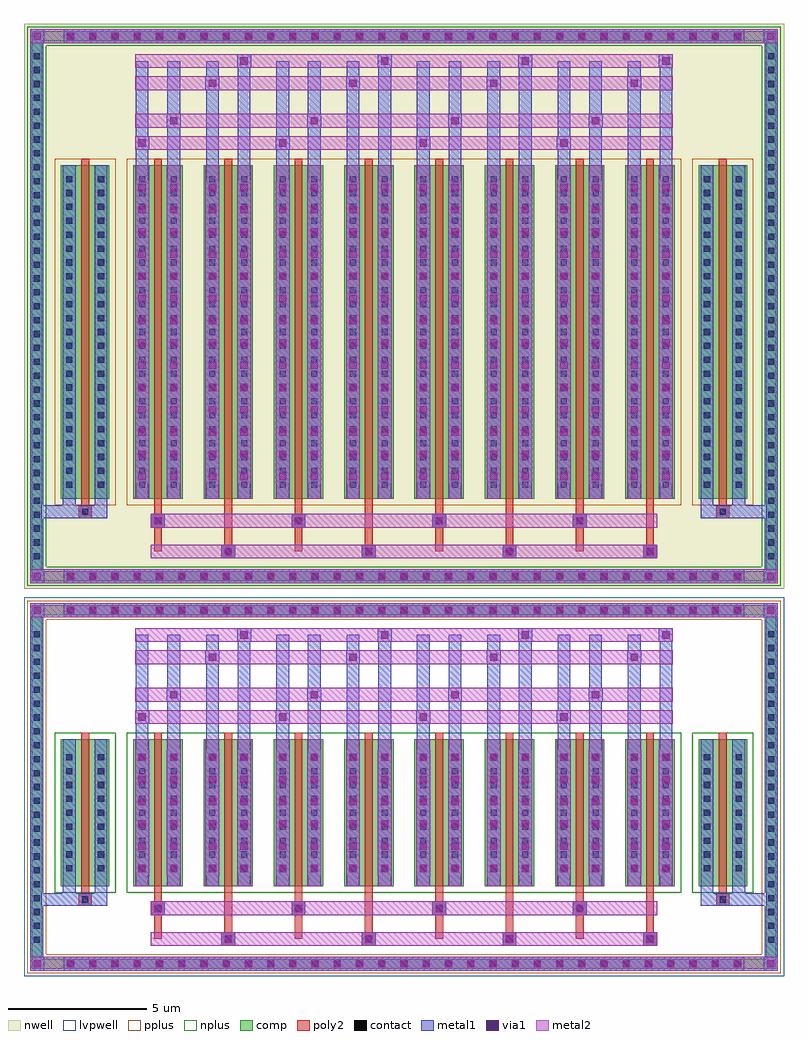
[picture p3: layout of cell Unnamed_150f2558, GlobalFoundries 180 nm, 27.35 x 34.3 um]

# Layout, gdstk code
import gdstk
lib = gdstk.Library(unit=1e-6, precision=5e-09)
def R(c, l, rs):  # rectangles x0, y0, x1, y1
    for r in rs: c.add(gdstk.rectangle(r[:2], r[2:], *l))
def A(c, l, x, y, w, h, nx, ny, dx, dy):  # array of equal rectangles
    R(c, l, [(x+i*dx, y+j*dy, x+i*dx+w, y+j*dy+h) for i in range(nx) for j in range(ny)])
def P(c, l, *ps):  # polygons
    for p in ps: c.add(gdstk.Polygon(p, *l))
nwell = (21, 0)
comp = (22, 0)
poly2 = (30, 0)
pplus = (31, 0)
nplus = (32, 0)
contact = (33, 0)
metal1 = (34, 0)
via1 = (35, 0)
metal2 = (36, 0)
lvpwell = (204, 0)

unnamed_360b35ee_1 = lib.new_cell('Unnamed_360b35ee$1')
A(unnamed_360b35ee_1, comp, -12.18, -9.895, 0.36, 0.36, 31, 2, 0.8, 19.43)
A(unnamed_360b35ee_1, comp, -13.395, -9.18, 0.36, 0.36, 1, 37, 0, 0.5)
A(unnamed_360b35ee_1, comp, 13.035, -9.18, 0.36, 0.36, 1, 37, 0, 0.5)
R(unnamed_360b35ee_1, comp, [(-12.18,-9.895,12.18,-9.535), (-13.395,-9.18,-13.035,9.18), (13.035,-9.18,13.395,9.18), (-12.18,9.535,12.18,9.895)])
P(unnamed_360b35ee_1, comp, [(-13.395,-9.895),(-13.395,-9.535),(-13.035,-9.535),(13.035,-9.535),(13.035,9.535),(-13.035,9.535),(-13.035,-9.535),(-13.395,-9.535),(-13.395,9.895),(13.395,9.895),(13.395,-9.895)])
P(unnamed_360b35ee_1, nplus, [(-13.555,-10.055),(-13.555,-9.375),(-12.875,-9.375),(12.875,-9.375),(12.875,9.375),(-12.875,9.375),(-12.875,-9.375),(-13.555,-9.375),(-13.555,10.055),(13.555,10.055),(13.555,-10.055)])
A(unnamed_360b35ee_1, contact, -12.11, -9.825, 0.22, 0.22, 31, 2, 0.8, 19.43)
A(unnamed_360b35ee_1, contact, -13.325, -9.11, 0.22, 0.22, 1, 37, 0, 0.5)
A(unnamed_360b35ee_1, contact, 13.105, -9.11, 0.22, 0.22, 1, 37, 0, 0.5)
A(unnamed_360b35ee_1, metal1, -12.25, -9.965, 0.5, 0.5, 31, 2, 0.8, 19.43)
A(unnamed_360b35ee_1, metal1, -13.445, -9.23, 0.46, 0.46, 1, 37, 0, 0.5)
A(unnamed_360b35ee_1, metal1, 12.985, -9.23, 0.46, 0.46, 1, 37, 0, 0.5)
R(unnamed_360b35ee_1, metal1, [(-13.445,-9.965,-12.945,-9.465), (-13.445,-9.965,-12.945,-9.465), (-13.445,-9.965,-12.985,-9.535), (-12.25,-9.965,12.25,-9.465), (12.945,-9.965,13.445,-9.465), (12.945,-9.965,13.445,-9.465), (12.985,-9.965,13.445,-9.535), (-13.445,-9.535,-12.985,9.535), (12.985,-9.535,13.445,9.535), (-13.445,9.465,-12.945,9.965), (-13.445,9.465,-12.945,9.965), (-12.25,9.465,12.25,9.965), (12.945,9.465,13.445,9.965), (12.945,9.465,13.445,9.965), (-13.445,9.535,-12.985,9.965), (12.985,9.535,13.445,9.965)])
A(unnamed_360b35ee_1, via1, -12.13, -9.845, 0.26, 0.26, 31, 2, 0.8, 19.43)
R(unnamed_360b35ee_1, via1, [(-13.325,-9.845,-13.065,-9.585), (13.065,-9.845,13.325,-9.585), (-13.325,9.585,-13.065,9.845), (13.065,9.585,13.325,9.845)])
A(unnamed_360b35ee_1, metal2, -12.25, -9.965, 0.5, 0.5, 31, 2, 0.8, 19.43)
R(unnamed_360b35ee_1, metal2, [(-13.445,-9.965,-13.035,-9.465), (-13.445,-9.965,-12.945,-9.465), (-13.445,-9.965,-12.945,-9.465), (-13.035,-9.965,13.035,-9.465), (12.945,-9.965,13.445,-9.465), (12.945,-9.965,13.445,-9.465), (13.035,-9.965,13.445,-9.465), (-13.445,9.465,-13.035,9.965), (-13.445,9.465,-12.945,9.965), (-13.445,9.465,-12.945,9.965), (-13.035,9.465,13.035,9.965), (12.945,9.465,13.445,9.965), (12.945,9.465,13.445,9.965), (13.035,9.465,13.445,9.965)])

straight_route_1103b31f = lib.new_cell('straight_route_1103b31f')
R(straight_route_1103b31f, metal1, [(-13.445,-7.625,-11.705,-7.165)])

straight_route_3d39137c = lib.new_cell('straight_route_3d39137c')
R(straight_route_3d39137c, metal1, [(11.705,-7.625,13.445,-7.165)])

transformed_5af8b543 = lib.new_cell('transformed_5af8b543')
R(transformed_5af8b543, nwell, [(-13.675,-10.175,13.675,10.175)])
A(transformed_5af8b543, comp, -9.745, -6.925, 1.78, 12, 8, 1, 2.53, 0)
R(transformed_5af8b543, comp, [(-12.345,-6.925,-10.605,5.075), (10.605,-6.925,12.345,5.075)])
A(transformed_5af8b543, poly2, -6.575, -9.075, 0.5, 0.5, 4, 1, 5.06, 0)
A(transformed_5af8b543, poly2, -6.505, -9.005, 0.36, 0.36, 4, 1, 5.06, 0)
A(transformed_5af8b543, poly2, -8.995, -8.825, 0.28, 1.66, 4, 1, 5.06, 0)
A(transformed_5af8b543, poly2, -6.465, -8.575, 0.28, 1.41, 4, 1, 5.06, 0)
A(transformed_5af8b543, poly2, -9.105, -7.965, 0.5, 0.5, 4, 1, 5.06, 0)
A(transformed_5af8b543, poly2, -9.035, -7.895, 0.36, 0.36, 4, 1, 5.06, 0)
A(transformed_5af8b543, poly2, -8.995, -7.465, 0.28, 0.3, 4, 1, 5.06, 0)
A(transformed_5af8b543, poly2, -8.995, -7.165, 0.28, 12.48, 8, 1, 2.53, 0)
R(transformed_5af8b543, poly2, [(-11.705,-7.625,-11.245,-7.165), (11.245,-7.625,11.705,-7.165), (-11.655,-7.575,-11.295,-7.215), (11.295,-7.575,11.655,-7.215), (-11.615,-7.165,-11.335,5.315), (11.335,-7.165,11.615,5.315)])
A(transformed_5af8b543, pplus, -9.975, -7.155, 2.24, 12.46, 8, 1, 2.53, 0)
R(transformed_5af8b543, pplus, [(-12.575,-7.155,-10.375,5.305), (-9.975,-7.155,9.975,5.305), (10.375,-7.155,12.575,5.305)])
A(transformed_5af8b543, contact, -6.435, -8.935, 0.22, 0.22, 4, 1, 5.06, 0)
A(transformed_5af8b543, contact, -8.965, -7.825, 0.22, 0.22, 4, 1, 5.06, 0)
A(transformed_5af8b543, contact, -12.155, -6.535, 0.22, 0.22, 1, 23, 0, 0.5)
A(transformed_5af8b543, contact, -11.015, -6.535, 0.22, 0.22, 1, 23, 0, 0.5)
A(transformed_5af8b543, contact, -9.535, -6.535, 0.22, 0.22, 1, 23, 0, 0.5)
A(transformed_5af8b543, contact, -8.395, -6.535, 0.22, 0.22, 1, 23, 0, 0.5)
A(transformed_5af8b543, contact, -7.005, -6.535, 0.22, 0.22, 1, 23, 0, 0.5)
A(transformed_5af8b543, contact, -5.865, -6.535, 0.22, 0.22, 1, 23, 0, 0.5)
A(transformed_5af8b543, contact, -4.475, -6.535, 0.22, 0.22, 1, 23, 0, 0.5)
A(transformed_5af8b543, contact, -3.335, -6.535, 0.22, 0.22, 1, 23, 0, 0.5)
A(transformed_5af8b543, contact, -1.945, -6.535, 0.22, 0.22, 1, 23, 0, 0.5)
A(transformed_5af8b543, contact, -0.805, -6.535, 0.22, 0.22, 1, 23, 0, 0.5)
A(transformed_5af8b543, contact, 0.585, -6.535, 0.22, 0.22, 1, 23, 0, 0.5)
A(transformed_5af8b543, contact, 1.725, -6.535, 0.22, 0.22, 1, 23, 0, 0.5)
A(transformed_5af8b543, contact, 3.115, -6.535, 0.22, 0.22, 1, 23, 0, 0.5)
A(transformed_5af8b543, contact, 4.255, -6.535, 0.22, 0.22, 1, 23, 0, 0.5)
A(transformed_5af8b543, contact, 5.645, -6.535, 0.22, 0.22, 1, 23, 0, 0.5)
A(transformed_5af8b543, contact, 6.785, -6.535, 0.22, 0.22, 1, 23, 0, 0.5)
A(transformed_5af8b543, contact, 8.175, -6.535, 0.22, 0.22, 1, 23, 0, 0.5)
A(transformed_5af8b543, contact, 9.315, -6.535, 0.22, 0.22, 1, 23, 0, 0.5)
A(transformed_5af8b543, contact, 10.795, -6.535, 0.22, 0.22, 1, 23, 0, 0.5)
A(transformed_5af8b543, contact, 11.935, -6.535, 0.22, 0.22, 1, 23, 0, 0.5)
R(transformed_5af8b543, contact, [(-11.585,-7.505,-11.365,-7.285), (11.365,-7.505,11.585,-7.285)])
A(transformed_5af8b543, metal1, -6.575, -9.075, 0.5, 0.5, 4, 1, 5.06, 0)
A(transformed_5af8b543, metal1, -9.105, -7.965, 0.5, 0.5, 4, 1, 5.06, 0)
A(transformed_5af8b543, metal1, -12.275, -6.655, 0.46, 0.46, 1, 23, 0, 0.5)
A(transformed_5af8b543, metal1, -11.135, -6.655, 0.46, 0.46, 1, 23, 0, 0.5)
A(transformed_5af8b543, metal1, -9.655, -6.655, 0.46, 0.46, 1, 23, 0, 0.5)
A(transformed_5af8b543, metal1, -8.515, -6.655, 0.46, 0.46, 1, 23, 0, 0.5)
A(transformed_5af8b543, metal1, -7.125, -6.655, 0.46, 0.46, 1, 23, 0, 0.5)
A(transformed_5af8b543, metal1, -5.985, -6.655, 0.46, 0.46, 1, 23, 0, 0.5)
A(transformed_5af8b543, metal1, -4.595, -6.655, 0.46, 0.46, 1, 23, 0, 0.5)
A(transformed_5af8b543, metal1, -3.455, -6.655, 0.46, 0.46, 1, 23, 0, 0.5)
A(transformed_5af8b543, metal1, -2.065, -6.655, 0.46, 0.46, 1, 23, 0, 0.5)
A(transformed_5af8b543, metal1, -0.925, -6.655, 0.46, 0.46, 1, 23, 0, 0.5)
A(transformed_5af8b543, metal1, 0.465, -6.655, 0.46, 0.46, 1, 23, 0, 0.5)
A(transformed_5af8b543, metal1, 1.605, -6.655, 0.46, 0.46, 1, 23, 0, 0.5)
A(transformed_5af8b543, metal1, 2.995, -6.655, 0.46, 0.46, 1, 23, 0, 0.5)
A(transformed_5af8b543, metal1, 4.135, -6.655, 0.46, 0.46, 1, 23, 0, 0.5)
A(transformed_5af8b543, metal1, 5.525, -6.655, 0.46, 0.46, 1, 23, 0, 0.5)
A(transformed_5af8b543, metal1, 6.665, -6.655, 0.46, 0.46, 1, 23, 0, 0.5)
A(transformed_5af8b543, metal1, 8.055, -6.655, 0.46, 0.46, 1, 23, 0, 0.5)
A(transformed_5af8b543, metal1, 9.195, -6.655, 0.46, 0.46, 1, 23, 0, 0.5)
A(transformed_5af8b543, metal1, 10.675, -6.655, 0.46, 0.46, 1, 23, 0, 0.5)
A(transformed_5af8b543, metal1, 11.815, -6.655, 0.46, 0.46, 1, 23, 0, 0.5)
A(transformed_5af8b543, metal1, -9.675, -6.375, 0.5, 0.5, 1, 14, 0, 0.8)
A(transformed_5af8b543, metal1, -8.535, -6.375, 0.5, 0.5, 1, 14, 0, 0.8)
A(transformed_5af8b543, metal1, -7.145, -6.375, 0.5, 0.5, 1, 14, 0, 0.8)
A(transformed_5af8b543, metal1, -6.005, -6.375, 0.5, 0.5, 1, 14, 0, 0.8)
A(transformed_5af8b543, metal1, -4.615, -6.375, 0.5, 0.5, 1, 14, 0, 0.8)
A(transformed_5af8b543, metal1, -3.475, -6.375, 0.5, 0.5, 1, 14, 0, 0.8)
A(transformed_5af8b543, metal1, -2.085, -6.375, 0.5, 0.5, 1, 14, 0, 0.8)
A(transformed_5af8b543, metal1, -0.945, -6.375, 0.5, 0.5, 1, 14, 0, 0.8)
A(transformed_5af8b543, metal1, 0.445, -6.375, 0.5, 0.5, 1, 14, 0, 0.8)
A(transformed_5af8b543, metal1, 1.585, -6.375, 0.5, 0.5, 1, 14, 0, 0.8)
A(transformed_5af8b543, metal1, 2.975, -6.375, 0.5, 0.5, 1, 14, 0, 0.8)
A(transformed_5af8b543, metal1, 4.115, -6.375, 0.5, 0.5, 1, 14, 0, 0.8)
A(transformed_5af8b543, metal1, 5.505, -6.375, 0.5, 0.5, 1, 14, 0, 0.8)
A(transformed_5af8b543, metal1, 6.645, -6.375, 0.5, 0.5, 1, 14, 0, 0.8)
A(transformed_5af8b543, metal1, 8.035, -6.375, 0.5, 0.5, 1, 14, 0, 0.8)
A(transformed_5af8b543, metal1, 9.175, -6.375, 0.5, 0.5, 1, 14, 0, 0.8)
A(transformed_5af8b543, metal1, -9.655, 5.075, 0.46, 1.05, 4, 1, 5.06, 0)
A(transformed_5af8b543, metal1, -8.515, 5.075, 0.46, 1.85, 4, 1, 5.06, 0)
A(transformed_5af8b543, metal1, -7.125, 5.075, 0.46, 3.2, 4, 1, 5.06, 0)
A(transformed_5af8b543, metal1, -5.985, 5.075, 0.46, 4, 4, 1, 5.06, 0)
A(transformed_5af8b543, metal1, -9.675, 5.625, 0.5, 0.5, 4, 1, 5.06, 0)
A(transformed_5af8b543, metal1, -8.535, 6.425, 0.5, 0.5, 4, 1, 5.06, 0)
A(transformed_5af8b543, metal1, -7.145, 7.775, 0.5, 0.5, 4, 1, 5.06, 0)
A(transformed_5af8b543, metal1, -6.005, 8.575, 0.5, 0.5, 4, 1, 5.06, 0)
R(transformed_5af8b543, metal1, [(-12.275,-7.625,-11.815,-6.925), (-12.275,-7.625,-11.705,-7.165), (-11.705,-7.625,-11.245,-7.165), (-11.245,-7.625,-10.675,-7.165), (-11.135,-7.625,-10.675,-6.925), (10.675,-7.625,11.135,-6.925), (10.675,-7.625,11.245,-7.165), (11.245,-7.625,11.705,-7.165), (11.705,-7.625,12.275,-7.165), (11.815,-7.625,12.275,-6.925), (-12.275,-6.925,-11.815,5.075), (-11.135,-6.925,-10.675,5.075), (-9.655,-6.925,-9.195,5.075), (-8.515,-6.925,-8.055,5.075), (-7.125,-6.925,-6.665,5.075), (-5.985,-6.925,-5.525,5.075), (-4.595,-6.925,-4.135,5.075), (-3.455,-6.925,-2.995,5.075), (-2.065,-6.925,-1.605,5.075), (-0.925,-6.925,-0.465,5.075), (0.465,-6.925,0.925,5.075), (1.605,-6.925,2.065,5.075), (2.995,-6.925,3.455,5.075), (4.135,-6.925,4.595,5.075), (5.525,-6.925,5.985,5.075), (6.665,-6.925,7.125,5.075), (8.055,-6.925,8.515,5.075), (9.195,-6.925,9.655,5.075), (10.675,-6.925,11.135,5.075), (11.815,-6.925,12.275,5.075), (-9.675,-6.375,-9.175,4.525), (-8.535,-6.375,-8.035,4.525), (-7.145,-6.375,-6.645,4.525), (-6.005,-6.375,-5.505,4.525), (-4.615,-6.375,-4.115,4.525), (-3.475,-6.375,-2.975,4.525), (-2.085,-6.375,-1.585,4.525), (-0.945,-6.375,-0.445,4.525), (0.445,-6.375,0.945,4.525), (1.585,-6.375,2.085,4.525), (2.975,-6.375,3.475,4.525), (4.115,-6.375,4.615,4.525), (5.505,-6.375,6.005,4.525), (6.645,-6.375,7.145,4.525), (8.035,-6.375,8.535,4.525), (9.175,-6.375,9.675,4.525), (-9.655,5.075,-9.195,8.825), (-8.515,5.075,-8.055,8.825), (-7.125,5.075,-6.665,8.825), (-5.985,5.075,-5.525,8.825), (-4.595,5.075,-4.135,8.825), (-3.455,5.075,-2.995,8.825), (-2.065,5.075,-1.605,8.825), (-0.925,5.075,-0.465,8.825), (0.465,5.075,0.925,8.825), (1.605,5.075,2.065,8.825), (2.995,5.075,3.455,8.825), (4.135,5.075,4.595,8.825), (5.525,5.075,5.985,8.825), (6.665,5.075,7.125,8.825), (8.055,5.075,8.515,8.825), (9.195,5.075,9.655,8.825)])
A(transformed_5af8b543, via1, -6.455, -8.955, 0.26, 0.26, 4, 1, 5.06, 0)
A(transformed_5af8b543, via1, -8.985, -7.845, 0.26, 0.26, 4, 1, 5.06, 0)
A(transformed_5af8b543, via1, -9.555, -6.255, 0.26, 0.26, 1, 14, 0, 0.8)
A(transformed_5af8b543, via1, -8.415, -6.255, 0.26, 0.26, 1, 14, 0, 0.8)
A(transformed_5af8b543, via1, -7.025, -6.255, 0.26, 0.26, 1, 14, 0, 0.8)
A(transformed_5af8b543, via1, -5.885, -6.255, 0.26, 0.26, 1, 14, 0, 0.8)
A(transformed_5af8b543, via1, -4.495, -6.255, 0.26, 0.26, 1, 14, 0, 0.8)
A(transformed_5af8b543, via1, -3.355, -6.255, 0.26, 0.26, 1, 14, 0, 0.8)
A(transformed_5af8b543, via1, -1.965, -6.255, 0.26, 0.26, 1, 14, 0, 0.8)
A(transformed_5af8b543, via1, -0.825, -6.255, 0.26, 0.26, 1, 14, 0, 0.8)
A(transformed_5af8b543, via1, 0.565, -6.255, 0.26, 0.26, 1, 14, 0, 0.8)
A(transformed_5af8b543, via1, 1.705, -6.255, 0.26, 0.26, 1, 14, 0, 0.8)
A(transformed_5af8b543, via1, 3.095, -6.255, 0.26, 0.26, 1, 14, 0, 0.8)
A(transformed_5af8b543, via1, 4.235, -6.255, 0.26, 0.26, 1, 14, 0, 0.8)
A(transformed_5af8b543, via1, 5.625, -6.255, 0.26, 0.26, 1, 14, 0, 0.8)
A(transformed_5af8b543, via1, 6.765, -6.255, 0.26, 0.26, 1, 14, 0, 0.8)
A(transformed_5af8b543, via1, 8.155, -6.255, 0.26, 0.26, 1, 14, 0, 0.8)
A(transformed_5af8b543, via1, 9.295, -6.255, 0.26, 0.26, 1, 14, 0, 0.8)
A(transformed_5af8b543, via1, -9.555, 5.745, 0.26, 0.26, 4, 1, 5.06, 0)
A(transformed_5af8b543, via1, -8.415, 6.545, 0.26, 0.26, 4, 1, 5.06, 0)
A(transformed_5af8b543, via1, -7.025, 7.895, 0.26, 0.26, 4, 1, 5.06, 0)
A(transformed_5af8b543, via1, -5.885, 8.695, 0.26, 0.26, 4, 1, 5.06, 0)
A(transformed_5af8b543, metal2, -9.675, -6.375, 0.5, 0.5, 1, 14, 0, 0.8)
A(transformed_5af8b543, metal2, -8.535, -6.375, 0.5, 0.5, 1, 14, 0, 0.8)
A(transformed_5af8b543, metal2, -7.145, -6.375, 0.5, 0.5, 1, 14, 0, 0.8)
A(transformed_5af8b543, metal2, -6.005, -6.375, 0.5, 0.5, 1, 14, 0, 0.8)
A(transformed_5af8b543, metal2, -4.615, -6.375, 0.5, 0.5, 1, 14, 0, 0.8)
A(transformed_5af8b543, metal2, -3.475, -6.375, 0.5, 0.5, 1, 14, 0, 0.8)
A(transformed_5af8b543, metal2, -2.085, -6.375, 0.5, 0.5, 1, 14, 0, 0.8)
A(transformed_5af8b543, metal2, -0.945, -6.375, 0.5, 0.5, 1, 14, 0, 0.8)
A(transformed_5af8b543, metal2, 0.445, -6.375, 0.5, 0.5, 1, 14, 0, 0.8)
A(transformed_5af8b543, metal2, 1.585, -6.375, 0.5, 0.5, 1, 14, 0, 0.8)
A(transformed_5af8b543, metal2, 2.975, -6.375, 0.5, 0.5, 1, 14, 0, 0.8)
A(transformed_5af8b543, metal2, 4.115, -6.375, 0.5, 0.5, 1, 14, 0, 0.8)
A(transformed_5af8b543, metal2, 5.505, -6.375, 0.5, 0.5, 1, 14, 0, 0.8)
A(transformed_5af8b543, metal2, 6.645, -6.375, 0.5, 0.5, 1, 14, 0, 0.8)
A(transformed_5af8b543, metal2, 8.035, -6.375, 0.5, 0.5, 1, 14, 0, 0.8)
A(transformed_5af8b543, metal2, 9.175, -6.375, 0.5, 0.5, 1, 14, 0, 0.8)
A(transformed_5af8b543, metal2, -9.675, 5.625, 0.5, 0.5, 4, 1, 5.06, 0)
A(transformed_5af8b543, metal2, -9.675, 5.625, 1.64, 0.5, 4, 2, 5.06, 0.8)
A(transformed_5af8b543, metal2, -8.535, 6.425, 0.5, 0.5, 4, 1, 5.06, 0)
A(transformed_5af8b543, metal2, -7.145, 7.775, 0.5, 0.5, 4, 1, 5.06, 0)
A(transformed_5af8b543, metal2, -7.145, 7.775, 1.64, 0.5, 4, 2, 5.06, 0.8)
A(transformed_5af8b543, metal2, -6.005, 8.575, 0.5, 0.5, 4, 1, 5.06, 0)
R(transformed_5af8b543, metal2, [(-9.105,-9.075,9.105,-8.575), (-6.575,-9.075,-6.075,-8.575), (-6.575,-9.075,-6.075,-8.575), (-1.515,-9.075,-1.015,-8.575), (-1.515,-9.075,-1.015,-8.575), (3.545,-9.075,4.045,-8.575), (3.545,-9.075,4.045,-8.575), (8.605,-9.075,9.105,-8.575), (8.605,-9.075,9.105,-8.575), (-9.105,-7.965,9.105,-7.465), (-9.105,-7.965,-8.605,-7.465), (-9.105,-7.965,-8.605,-7.465), (-4.045,-7.965,-3.545,-7.465), (-4.045,-7.965,-3.545,-7.465), (1.015,-7.965,1.515,-7.465), (1.015,-7.965,1.515,-7.465), (6.075,-7.965,6.575,-7.465), (6.075,-7.965,6.575,-7.465), (-9.675,-6.925,-9.175,5.075), (-8.535,-6.925,-8.035,5.075), (-7.145,-6.925,-6.645,5.075), (-6.005,-6.925,-5.505,5.075), (-4.615,-6.925,-4.115,5.075), (-3.475,-6.925,-2.975,5.075), (-2.085,-6.925,-1.585,5.075), (-0.945,-6.925,-0.445,5.075), (0.445,-6.925,0.945,5.075), (1.585,-6.925,2.085,5.075), (2.975,-6.925,3.475,5.075), (4.115,-6.925,4.615,5.075), (5.505,-6.925,6.005,5.075), (6.645,-6.925,7.145,5.075), (8.035,-6.925,8.535,5.075), (9.175,-6.925,9.675,5.075), (-9.675,5.625,9.675,6.125), (-9.675,6.425,9.675,6.925), (-9.675,7.775,9.675,8.275), (-9.675,8.575,9.675,9.075)])
transformed_5af8b543.add(gdstk.Reference(unnamed_360b35ee_1, (0,0)))
transformed_5af8b543.add(gdstk.Reference(straight_route_1103b31f, (0,0)))
transformed_5af8b543.add(gdstk.Reference(straight_route_3d39137c, (0,0)))

unnamed_05fc7251_1 = lib.new_cell('Unnamed_05fc7251$1')
A(unnamed_05fc7251_1, comp, -12.18, -6.54, 0.36, 0.36, 31, 2, 0.8, 12.72)
A(unnamed_05fc7251_1, comp, -13.395, -5.68, 0.36, 0.36, 1, 23, 0, 0.5)
A(unnamed_05fc7251_1, comp, 13.035, -5.68, 0.36, 0.36, 1, 23, 0, 0.5)
R(unnamed_05fc7251_1, comp, [(-12.18,-6.54,12.18,-6.18), (-13.395,-5.68,-13.035,5.68), (13.035,-5.68,13.395,5.68), (-12.18,6.18,12.18,6.54)])
P(unnamed_05fc7251_1, comp, [(-13.395,-6.54),(-13.395,-6.18),(-13.035,-6.18),(13.035,-6.18),(13.035,6.18),(-13.035,6.18),(-13.035,-6.18),(-13.395,-6.18),(-13.395,6.54),(13.395,6.54),(13.395,-6.54)])
P(unnamed_05fc7251_1, pplus, [(-13.555,-6.7),(-13.555,-6.02),(-12.875,-6.02),(12.875,-6.02),(12.875,6.02),(-12.875,6.02),(-12.875,-6.02),(-13.555,-6.02),(-13.555,6.7),(13.555,6.7),(13.555,-6.7)])
A(unnamed_05fc7251_1, contact, -12.11, -6.47, 0.22, 0.22, 31, 2, 0.8, 12.72)
A(unnamed_05fc7251_1, contact, -13.325, -5.61, 0.22, 0.22, 1, 23, 0, 0.5)
A(unnamed_05fc7251_1, contact, 13.105, -5.61, 0.22, 0.22, 1, 23, 0, 0.5)
A(unnamed_05fc7251_1, metal1, -12.25, -6.61, 0.5, 0.5, 31, 2, 0.8, 12.72)
A(unnamed_05fc7251_1, metal1, -13.445, -5.73, 0.46, 0.46, 1, 23, 0, 0.5)
A(unnamed_05fc7251_1, metal1, 12.985, -5.73, 0.46, 0.46, 1, 23, 0, 0.5)
R(unnamed_05fc7251_1, metal1, [(-13.445,-6.61,-12.945,-6.11), (-13.445,-6.61,-12.945,-6.11), (-13.445,-6.61,-12.985,-6.18), (-12.25,-6.61,12.25,-6.11), (12.945,-6.61,13.445,-6.11), (12.945,-6.61,13.445,-6.11), (12.985,-6.61,13.445,-6.18), (-13.445,-6.18,-12.985,6.18), (12.985,-6.18,13.445,6.18), (-13.445,6.11,-12.945,6.61), (-13.445,6.11,-12.945,6.61), (-12.25,6.11,12.25,6.61), (12.945,6.11,13.445,6.61), (12.945,6.11,13.445,6.61), (-13.445,6.18,-12.985,6.61), (12.985,6.18,13.445,6.61)])
A(unnamed_05fc7251_1, via1, -12.13, -6.49, 0.26, 0.26, 31, 2, 0.8, 12.72)
R(unnamed_05fc7251_1, via1, [(-13.325,-6.49,-13.065,-6.23), (13.065,-6.49,13.325,-6.23), (-13.325,6.23,-13.065,6.49), (13.065,6.23,13.325,6.49)])
A(unnamed_05fc7251_1, metal2, -12.25, -6.61, 0.5, 0.5, 31, 2, 0.8, 12.72)
R(unnamed_05fc7251_1, metal2, [(-13.445,-6.61,-13.035,-6.11), (-13.445,-6.61,-12.945,-6.11), (-13.445,-6.61,-12.945,-6.11), (-13.035,-6.61,13.035,-6.11), (12.945,-6.61,13.445,-6.11), (12.945,-6.61,13.445,-6.11), (13.035,-6.61,13.445,-6.11), (-13.445,6.11,-13.035,6.61), (-13.445,6.11,-12.945,6.61), (-13.445,6.11,-12.945,6.61), (-13.035,6.11,13.035,6.61), (12.945,6.11,13.445,6.61), (12.945,6.11,13.445,6.61), (13.035,6.11,13.445,6.61)])

straight_route_dd7ceba2 = lib.new_cell('straight_route_dd7ceba2')
R(straight_route_dd7ceba2, metal1, [(-13.445,-4.28,-11.705,-3.82)])

straight_route_4af7ac40 = lib.new_cell('straight_route_4af7ac40')
R(straight_route_4af7ac40, metal1, [(11.705,-4.28,13.445,-3.82)])

transformed_8d19c0ea = lib.new_cell('transformed_8d19c0ea')
A(transformed_8d19c0ea, comp, -9.745, -3.58, 1.78, 5.3, 8, 1, 2.53, 0)
R(transformed_8d19c0ea, comp, [(-12.345,-3.58,-10.605,1.72), (10.605,-3.58,12.345,1.72)])
A(transformed_8d19c0ea, poly2, -6.575, -5.72, 0.5, 0.5, 4, 1, 5.06, 0)
A(transformed_8d19c0ea, poly2, -6.505, -5.65, 0.36, 0.36, 4, 1, 5.06, 0)
A(transformed_8d19c0ea, poly2, -8.995, -5.47, 0.28, 1.65, 4, 1, 5.06, 0)
A(transformed_8d19c0ea, poly2, -6.465, -5.22, 0.28, 1.4, 4, 1, 5.06, 0)
A(transformed_8d19c0ea, poly2, -9.105, -4.62, 0.5, 0.5, 4, 1, 5.06, 0)
A(transformed_8d19c0ea, poly2, -9.035, -4.55, 0.36, 0.36, 4, 1, 5.06, 0)
A(transformed_8d19c0ea, poly2, -8.995, -4.12, 0.28, 0.3, 4, 1, 5.06, 0)
A(transformed_8d19c0ea, poly2, -8.995, -3.82, 0.28, 5.78, 8, 1, 2.53, 0)
R(transformed_8d19c0ea, poly2, [(-11.705,-4.28,-11.245,-3.82), (11.245,-4.28,11.705,-3.82), (-11.655,-4.23,-11.295,-3.87), (11.295,-4.23,11.655,-3.87), (-11.615,-3.82,-11.335,1.96), (11.335,-3.82,11.615,1.96)])
A(transformed_8d19c0ea, nplus, -9.975, -3.81, 2.24, 5.76, 8, 1, 2.53, 0)
R(transformed_8d19c0ea, nplus, [(-12.575,-3.81,-10.375,1.95), (-9.975,-3.81,9.975,1.95), (10.375,-3.81,12.575,1.95)])
A(transformed_8d19c0ea, contact, -6.435, -5.58, 0.22, 0.22, 4, 1, 5.06, 0)
A(transformed_8d19c0ea, contact, -8.965, -4.48, 0.22, 0.22, 4, 1, 5.06, 0)
A(transformed_8d19c0ea, contact, -12.155, -3.04, 0.22, 0.22, 1, 9, 0, 0.5)
A(transformed_8d19c0ea, contact, -11.015, -3.04, 0.22, 0.22, 1, 9, 0, 0.5)
A(transformed_8d19c0ea, contact, -9.535, -3.04, 0.22, 0.22, 1, 9, 0, 0.5)
A(transformed_8d19c0ea, contact, -8.395, -3.04, 0.22, 0.22, 1, 9, 0, 0.5)
A(transformed_8d19c0ea, contact, -7.005, -3.04, 0.22, 0.22, 1, 9, 0, 0.5)
A(transformed_8d19c0ea, contact, -5.865, -3.04, 0.22, 0.22, 1, 9, 0, 0.5)
A(transformed_8d19c0ea, contact, -4.475, -3.04, 0.22, 0.22, 1, 9, 0, 0.5)
A(transformed_8d19c0ea, contact, -3.335, -3.04, 0.22, 0.22, 1, 9, 0, 0.5)
A(transformed_8d19c0ea, contact, -1.945, -3.04, 0.22, 0.22, 1, 9, 0, 0.5)
A(transformed_8d19c0ea, contact, -0.805, -3.04, 0.22, 0.22, 1, 9, 0, 0.5)
A(transformed_8d19c0ea, contact, 0.585, -3.04, 0.22, 0.22, 1, 9, 0, 0.5)
A(transformed_8d19c0ea, contact, 1.725, -3.04, 0.22, 0.22, 1, 9, 0, 0.5)
A(transformed_8d19c0ea, contact, 3.115, -3.04, 0.22, 0.22, 1, 9, 0, 0.5)
A(transformed_8d19c0ea, contact, 4.255, -3.04, 0.22, 0.22, 1, 9, 0, 0.5)
A(transformed_8d19c0ea, contact, 5.645, -3.04, 0.22, 0.22, 1, 9, 0, 0.5)
A(transformed_8d19c0ea, contact, 6.785, -3.04, 0.22, 0.22, 1, 9, 0, 0.5)
A(transformed_8d19c0ea, contact, 8.175, -3.04, 0.22, 0.22, 1, 9, 0, 0.5)
A(transformed_8d19c0ea, contact, 9.315, -3.04, 0.22, 0.22, 1, 9, 0, 0.5)
A(transformed_8d19c0ea, contact, 10.795, -3.04, 0.22, 0.22, 1, 9, 0, 0.5)
A(transformed_8d19c0ea, contact, 11.935, -3.04, 0.22, 0.22, 1, 9, 0, 0.5)
R(transformed_8d19c0ea, contact, [(-11.585,-4.16,-11.365,-3.94), (11.365,-4.16,11.585,-3.94)])
A(transformed_8d19c0ea, metal1, -6.575, -5.72, 0.5, 0.5, 4, 1, 5.06, 0)
A(transformed_8d19c0ea, metal1, -9.105, -4.62, 0.5, 0.5, 4, 1, 5.06, 0)
A(transformed_8d19c0ea, metal1, -9.675, -3.18, 0.5, 0.5, 1, 6, 0, 0.8)
A(transformed_8d19c0ea, metal1, -8.535, -3.18, 0.5, 0.5, 1, 6, 0, 0.8)
A(transformed_8d19c0ea, metal1, -7.145, -3.18, 0.5, 0.5, 1, 6, 0, 0.8)
A(transformed_8d19c0ea, metal1, -6.005, -3.18, 0.5, 0.5, 1, 6, 0, 0.8)
A(transformed_8d19c0ea, metal1, -4.615, -3.18, 0.5, 0.5, 1, 6, 0, 0.8)
A(transformed_8d19c0ea, metal1, -3.475, -3.18, 0.5, 0.5, 1, 6, 0, 0.8)
A(transformed_8d19c0ea, metal1, -2.085, -3.18, 0.5, 0.5, 1, 6, 0, 0.8)
A(transformed_8d19c0ea, metal1, -0.945, -3.18, 0.5, 0.5, 1, 6, 0, 0.8)
A(transformed_8d19c0ea, metal1, 0.445, -3.18, 0.5, 0.5, 1, 6, 0, 0.8)
A(transformed_8d19c0ea, metal1, 1.585, -3.18, 0.5, 0.5, 1, 6, 0, 0.8)
A(transformed_8d19c0ea, metal1, 2.975, -3.18, 0.5, 0.5, 1, 6, 0, 0.8)
A(transformed_8d19c0ea, metal1, 4.115, -3.18, 0.5, 0.5, 1, 6, 0, 0.8)
A(transformed_8d19c0ea, metal1, 5.505, -3.18, 0.5, 0.5, 1, 6, 0, 0.8)
A(transformed_8d19c0ea, metal1, 6.645, -3.18, 0.5, 0.5, 1, 6, 0, 0.8)
A(transformed_8d19c0ea, metal1, 8.035, -3.18, 0.5, 0.5, 1, 6, 0, 0.8)
A(transformed_8d19c0ea, metal1, 9.175, -3.18, 0.5, 0.5, 1, 6, 0, 0.8)
A(transformed_8d19c0ea, metal1, -12.275, -3.16, 0.46, 0.46, 1, 9, 0, 0.5)
A(transformed_8d19c0ea, metal1, -11.135, -3.16, 0.46, 0.46, 1, 9, 0, 0.5)
A(transformed_8d19c0ea, metal1, -9.655, -3.16, 0.46, 0.46, 1, 9, 0, 0.5)
A(transformed_8d19c0ea, metal1, -8.515, -3.16, 0.46, 0.46, 1, 9, 0, 0.5)
A(transformed_8d19c0ea, metal1, -7.125, -3.16, 0.46, 0.46, 1, 9, 0, 0.5)
A(transformed_8d19c0ea, metal1, -5.985, -3.16, 0.46, 0.46, 1, 9, 0, 0.5)
A(transformed_8d19c0ea, metal1, -4.595, -3.16, 0.46, 0.46, 1, 9, 0, 0.5)
A(transformed_8d19c0ea, metal1, -3.455, -3.16, 0.46, 0.46, 1, 9, 0, 0.5)
A(transformed_8d19c0ea, metal1, -2.065, -3.16, 0.46, 0.46, 1, 9, 0, 0.5)
A(transformed_8d19c0ea, metal1, -0.925, -3.16, 0.46, 0.46, 1, 9, 0, 0.5)
A(transformed_8d19c0ea, metal1, 0.465, -3.16, 0.46, 0.46, 1, 9, 0, 0.5)
A(transformed_8d19c0ea, metal1, 1.605, -3.16, 0.46, 0.46, 1, 9, 0, 0.5)
A(transformed_8d19c0ea, metal1, 2.995, -3.16, 0.46, 0.46, 1, 9, 0, 0.5)
A(transformed_8d19c0ea, metal1, 4.135, -3.16, 0.46, 0.46, 1, 9, 0, 0.5)
A(transformed_8d19c0ea, metal1, 5.525, -3.16, 0.46, 0.46, 1, 9, 0, 0.5)
A(transformed_8d19c0ea, metal1, 6.665, -3.16, 0.46, 0.46, 1, 9, 0, 0.5)
A(transformed_8d19c0ea, metal1, 8.055, -3.16, 0.46, 0.46, 1, 9, 0, 0.5)
A(transformed_8d19c0ea, metal1, 9.195, -3.16, 0.46, 0.46, 1, 9, 0, 0.5)
A(transformed_8d19c0ea, metal1, 10.675, -3.16, 0.46, 0.46, 1, 9, 0, 0.5)
A(transformed_8d19c0ea, metal1, 11.815, -3.16, 0.46, 0.46, 1, 9, 0, 0.5)
A(transformed_8d19c0ea, metal1, -9.655, 1.72, 0.46, 1.05, 4, 1, 5.06, 0)
A(transformed_8d19c0ea, metal1, -8.515, 1.72, 0.46, 1.85, 4, 1, 5.06, 0)
A(transformed_8d19c0ea, metal1, -7.125, 1.72, 0.46, 3.2, 4, 1, 5.06, 0)
A(transformed_8d19c0ea, metal1, -5.985, 1.72, 0.46, 4, 4, 1, 5.06, 0)
A(transformed_8d19c0ea, metal1, -9.675, 2.27, 0.5, 0.5, 4, 1, 5.06, 0)
A(transformed_8d19c0ea, metal1, -8.535, 3.07, 0.5, 0.5, 4, 1, 5.06, 0)
A(transformed_8d19c0ea, metal1, -7.145, 4.42, 0.5, 0.5, 4, 1, 5.06, 0)
A(transformed_8d19c0ea, metal1, -6.005, 5.22, 0.5, 0.5, 4, 1, 5.06, 0)
R(transformed_8d19c0ea, metal1, [(-12.275,-4.28,-11.705,-3.82), (-12.275,-4.28,-11.815,-3.58), (-11.705,-4.28,-11.245,-3.82), (-11.245,-4.28,-10.675,-3.82), (-11.135,-4.28,-10.675,-3.58), (10.675,-4.28,11.245,-3.82), (10.675,-4.28,11.135,-3.58), (11.245,-4.28,11.705,-3.82), (11.705,-4.28,12.275,-3.82), (11.815,-4.28,12.275,-3.58), (-12.275,-3.58,-11.815,1.72), (-11.135,-3.58,-10.675,1.72), (-9.655,-3.58,-9.195,1.72), (-8.515,-3.58,-8.055,1.72), (-7.125,-3.58,-6.665,1.72), (-5.985,-3.58,-5.525,1.72), (-4.595,-3.58,-4.135,1.72), (-3.455,-3.58,-2.995,1.72), (-2.065,-3.58,-1.605,1.72), (-0.925,-3.58,-0.465,1.72), (0.465,-3.58,0.925,1.72), (1.605,-3.58,2.065,1.72), (2.995,-3.58,3.455,1.72), (4.135,-3.58,4.595,1.72), (5.525,-3.58,5.985,1.72), (6.665,-3.58,7.125,1.72), (8.055,-3.58,8.515,1.72), (9.195,-3.58,9.655,1.72), (10.675,-3.58,11.135,1.72), (11.815,-3.58,12.275,1.72), (-9.675,-3.18,-9.175,1.32), (-8.535,-3.18,-8.035,1.32), (-7.145,-3.18,-6.645,1.32), (-6.005,-3.18,-5.505,1.32), (-4.615,-3.18,-4.115,1.32), (-3.475,-3.18,-2.975,1.32), (-2.085,-3.18,-1.585,1.32), (-0.945,-3.18,-0.445,1.32), (0.445,-3.18,0.945,1.32), (1.585,-3.18,2.085,1.32), (2.975,-3.18,3.475,1.32), (4.115,-3.18,4.615,1.32), (5.505,-3.18,6.005,1.32), (6.645,-3.18,7.145,1.32), (8.035,-3.18,8.535,1.32), (9.175,-3.18,9.675,1.32), (-9.655,1.72,-9.195,5.47), (-8.515,1.72,-8.055,5.47), (-7.125,1.72,-6.665,5.47), (-5.985,1.72,-5.525,5.47), (-4.595,1.72,-4.135,5.47), (-3.455,1.72,-2.995,5.47), (-2.065,1.72,-1.605,5.47), (-0.925,1.72,-0.465,5.47), (0.465,1.72,0.925,5.47), (1.605,1.72,2.065,5.47), (2.995,1.72,3.455,5.47), (4.135,1.72,4.595,5.47), (5.525,1.72,5.985,5.47), (6.665,1.72,7.125,5.47), (8.055,1.72,8.515,5.47), (9.195,1.72,9.655,5.47)])
A(transformed_8d19c0ea, via1, -6.455, -5.6, 0.26, 0.26, 4, 1, 5.06, 0)
A(transformed_8d19c0ea, via1, -8.985, -4.5, 0.26, 0.26, 4, 1, 5.06, 0)
A(transformed_8d19c0ea, via1, -9.555, -3.06, 0.26, 0.26, 1, 6, 0, 0.8)
A(transformed_8d19c0ea, via1, -8.415, -3.06, 0.26, 0.26, 1, 6, 0, 0.8)
A(transformed_8d19c0ea, via1, -7.025, -3.06, 0.26, 0.26, 1, 6, 0, 0.8)
A(transformed_8d19c0ea, via1, -5.885, -3.06, 0.26, 0.26, 1, 6, 0, 0.8)
A(transformed_8d19c0ea, via1, -4.495, -3.06, 0.26, 0.26, 1, 6, 0, 0.8)
A(transformed_8d19c0ea, via1, -3.355, -3.06, 0.26, 0.26, 1, 6, 0, 0.8)
A(transformed_8d19c0ea, via1, -1.965, -3.06, 0.26, 0.26, 1, 6, 0, 0.8)
A(transformed_8d19c0ea, via1, -0.825, -3.06, 0.26, 0.26, 1, 6, 0, 0.8)
A(transformed_8d19c0ea, via1, 0.565, -3.06, 0.26, 0.26, 1, 6, 0, 0.8)
A(transformed_8d19c0ea, via1, 1.705, -3.06, 0.26, 0.26, 1, 6, 0, 0.8)
A(transformed_8d19c0ea, via1, 3.095, -3.06, 0.26, 0.26, 1, 6, 0, 0.8)
A(transformed_8d19c0ea, via1, 4.235, -3.06, 0.26, 0.26, 1, 6, 0, 0.8)
A(transformed_8d19c0ea, via1, 5.625, -3.06, 0.26, 0.26, 1, 6, 0, 0.8)
A(transformed_8d19c0ea, via1, 6.765, -3.06, 0.26, 0.26, 1, 6, 0, 0.8)
A(transformed_8d19c0ea, via1, 8.155, -3.06, 0.26, 0.26, 1, 6, 0, 0.8)
A(transformed_8d19c0ea, via1, 9.295, -3.06, 0.26, 0.26, 1, 6, 0, 0.8)
A(transformed_8d19c0ea, via1, -9.555, 2.39, 0.26, 0.26, 4, 1, 5.06, 0)
A(transformed_8d19c0ea, via1, -8.415, 3.19, 0.26, 0.26, 4, 1, 5.06, 0)
A(transformed_8d19c0ea, via1, -7.025, 4.54, 0.26, 0.26, 4, 1, 5.06, 0)
A(transformed_8d19c0ea, via1, -5.885, 5.34, 0.26, 0.26, 4, 1, 5.06, 0)
A(transformed_8d19c0ea, metal2, -9.675, -3.18, 0.5, 0.5, 1, 6, 0, 0.8)
A(transformed_8d19c0ea, metal2, -8.535, -3.18, 0.5, 0.5, 1, 6, 0, 0.8)
A(transformed_8d19c0ea, metal2, -7.145, -3.18, 0.5, 0.5, 1, 6, 0, 0.8)
A(transformed_8d19c0ea, metal2, -6.005, -3.18, 0.5, 0.5, 1, 6, 0, 0.8)
A(transformed_8d19c0ea, metal2, -4.615, -3.18, 0.5, 0.5, 1, 6, 0, 0.8)
A(transformed_8d19c0ea, metal2, -3.475, -3.18, 0.5, 0.5, 1, 6, 0, 0.8)
A(transformed_8d19c0ea, metal2, -2.085, -3.18, 0.5, 0.5, 1, 6, 0, 0.8)
A(transformed_8d19c0ea, metal2, -0.945, -3.18, 0.5, 0.5, 1, 6, 0, 0.8)
A(transformed_8d19c0ea, metal2, 0.445, -3.18, 0.5, 0.5, 1, 6, 0, 0.8)
A(transformed_8d19c0ea, metal2, 1.585, -3.18, 0.5, 0.5, 1, 6, 0, 0.8)
A(transformed_8d19c0ea, metal2, 2.975, -3.18, 0.5, 0.5, 1, 6, 0, 0.8)
A(transformed_8d19c0ea, metal2, 4.115, -3.18, 0.5, 0.5, 1, 6, 0, 0.8)
A(transformed_8d19c0ea, metal2, 5.505, -3.18, 0.5, 0.5, 1, 6, 0, 0.8)
A(transformed_8d19c0ea, metal2, 6.645, -3.18, 0.5, 0.5, 1, 6, 0, 0.8)
A(transformed_8d19c0ea, metal2, 8.035, -3.18, 0.5, 0.5, 1, 6, 0, 0.8)
A(transformed_8d19c0ea, metal2, 9.175, -3.18, 0.5, 0.5, 1, 6, 0, 0.8)
A(transformed_8d19c0ea, metal2, -9.675, 2.27, 0.5, 0.5, 4, 1, 5.06, 0)
A(transformed_8d19c0ea, metal2, -9.675, 2.27, 1.64, 0.5, 4, 2, 5.06, 0.8)
A(transformed_8d19c0ea, metal2, -8.535, 3.07, 0.5, 0.5, 4, 1, 5.06, 0)
A(transformed_8d19c0ea, metal2, -7.145, 4.42, 0.5, 0.5, 4, 1, 5.06, 0)
A(transformed_8d19c0ea, metal2, -7.145, 4.42, 1.64, 0.5, 4, 2, 5.06, 0.8)
A(transformed_8d19c0ea, metal2, -6.005, 5.22, 0.5, 0.5, 4, 1, 5.06, 0)
R(transformed_8d19c0ea, metal2, [(-9.105,-5.72,9.105,-5.22), (-6.575,-5.72,-6.075,-5.22), (-6.575,-5.72,-6.075,-5.22), (-1.515,-5.72,-1.015,-5.22), (-1.515,-5.72,-1.015,-5.22), (3.545,-5.72,4.045,-5.22), (3.545,-5.72,4.045,-5.22), (8.605,-5.72,9.105,-5.22), (8.605,-5.72,9.105,-5.22), (-9.105,-4.62,9.105,-4.12), (-9.105,-4.62,-8.605,-4.12), (-9.105,-4.62,-8.605,-4.12), (-4.045,-4.62,-3.545,-4.12), (-4.045,-4.62,-3.545,-4.12), (1.015,-4.62,1.515,-4.12), (1.015,-4.62,1.515,-4.12), (6.075,-4.62,6.575,-4.12), (6.075,-4.62,6.575,-4.12), (-9.675,-3.58,-9.175,1.72), (-8.535,-3.58,-8.035,1.72), (-7.145,-3.58,-6.645,1.72), (-6.005,-3.58,-5.505,1.72), (-4.615,-3.58,-4.115,1.72), (-3.475,-3.58,-2.975,1.72), (-2.085,-3.58,-1.585,1.72), (-0.945,-3.58,-0.445,1.72), (0.445,-3.58,0.945,1.72), (1.585,-3.58,2.085,1.72), (2.975,-3.58,3.475,1.72), (4.115,-3.58,4.615,1.72), (5.505,-3.58,6.005,1.72), (6.645,-3.58,7.145,1.72), (8.035,-3.58,8.535,1.72), (9.175,-3.58,9.675,1.72), (-9.675,2.27,9.675,2.77), (-9.675,3.07,9.675,3.57), (-9.675,4.42,9.675,4.92), (-9.675,5.22,9.675,5.72)])
R(transformed_8d19c0ea, lvpwell, [(-13.675,-6.82,13.675,6.82)])
transformed_8d19c0ea.add(gdstk.Reference(unnamed_05fc7251_1, (0,0)))
transformed_8d19c0ea.add(gdstk.Reference(straight_route_dd7ceba2, (0,0)))
transformed_8d19c0ea.add(gdstk.Reference(straight_route_4af7ac40, (0,0)))

unnamed_150f2558 = lib.new_cell('Unnamed_150f2558')
unnamed_150f2558.add(gdstk.Reference(transformed_5af8b543, (0,17.3)))
unnamed_150f2558.add(gdstk.Reference(transformed_8d19c0ea, (0,0)))

lib.write_gds('Unnamed_150f2558.gds')
